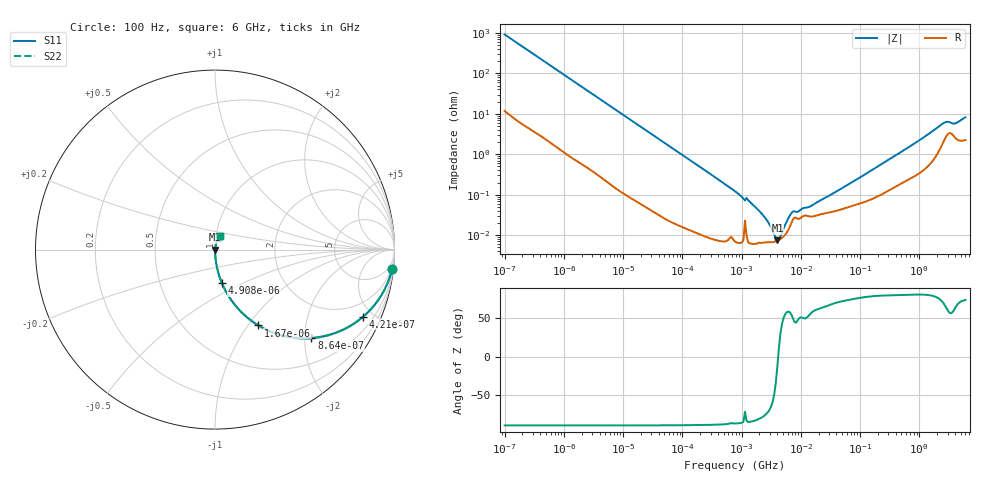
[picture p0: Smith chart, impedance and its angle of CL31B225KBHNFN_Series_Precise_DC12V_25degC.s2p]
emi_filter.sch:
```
<QucsStudio Schematic 2.5.7>
<Properties>
  <View=-180,-46,1730,1159,0.846154,0,110>
  <Grid=10,10,1>
  <DataSet=emi_filter.dat>
  <DataDisplay=emi_filter.dpl>
  <OpenDisplay=1>
  <showFrame=0>
  <FrameText0=Title>
  <FrameText1=Drawn By:>
  <FrameText2=Date:>
  <FrameText3=Revision:>
</Properties>
<Symbol>
</Symbol>
<Components>
  <.SP SP1 1 70 0 0 60 0 0 "log" 1 "1Hz" 1 "100MHz" 1 "801" 1 "no" 0 "1" 0 "2" 0 "none" 0>
  <GND * 1 80 330 0 0 0 0>
  <C C7 1 190 300 17 -26 0 1 "7.623µF" 1 "" 0 "neutral" 0 "SMD0603" 0>
  <GND * 1 190 330 0 0 0 0>
  <L L4 1 260 220 -26 10 0 0 "15.25µH" 1 "" 0 "SELF-WE-PD3S" 0>
  <C C8 1 260 180 -26 -48 0 0 "13.85nF" 1 "" 0 "neutral" 0 "SMD0603" 0>
  <C C9 1 330 300 17 -26 0 1 "7.623µF" 1 "" 0 "neutral" 0 "SMD0603" 0>
  <GND * 1 330 330 0 0 0 0>
  <GND * 1 440 330 0 0 0 0>
  <Pac P1 1 80 300 18 -26 0 0 "1" 1 "1 Ohm" 1 "0 dBm" 0 "1 GHz" 0 "26.85" 0 "SUBCLICK" 0>
  <Pac P2 1 440 300 18 -26 0 0 "2" 1 "1 Ohm" 1 "0 dBm" 0 "1 GHz" 0 "26.85" 0 "SUBCLICK" 0>
  <.MC MC1 1 660 30 0 61 0 0 "SP1" 1 "20" 1>
  <GND * 1 -80 770 0 0 0 0>
  <Pac P3 1 -80 740 18 -26 0 0 "3" 1 "1 Ohm" 1 "0 dBm" 0 "1 GHz" 0 "26.85" 0 "SUBCLICK" 0>
  <C C10 1 60 850 17 -26 0 1 "tol(6.8µF,20,1)" 1 "" 0 "neutral" 0 "SMD0603" 0>
  <R R2 1 60 770 15 -26 0 1 "0.8" 1 "26.85" 0 "0" 0 "0" 0 "26.85" 0 "european" 0 "SMD0603" 0>
  <GND * 1 180 940 0 0 0 0>
  <GND * 1 240 820 0 0 0 0>
  <SPfile X1 1 300 810 21 -26 0 3 "CL31B225KBHNFN_Series_Precise_DC12V_25degC.s2p" 1 "polar" 0 "linear" 0 "short" 0 "no" 0 "2" 0 "block" 0 "SOT23" 0>
  <R R1 1 550 660 -26 15 0 0 "0.198" 1 "26.85" 0 "0" 0 "0" 0 "26.85" 0 "european" 0 "SMD0603" 0>
  <L L5 1 650 660 -26 10 0 0 "tol(15uH,20,1)" 1 "" 0 "SELF-WE-PD3S" 0>
  <GND * 1 1420 770 0 0 0 0>
  <Pac P4 1 1420 740 18 -26 0 0 "4" 1 "1 Ohm" 1 "0 dBm" 0 "1 GHz" 0 "26.85" 0 "SUBCLICK" 0>
  <C C12 1 960 850 17 -26 0 1 "tol(6.8µF,20,1)" 1 "" 0 "neutral" 0 "SMD0603" 0>
  <R R3 1 960 770 15 -26 0 1 "0.8" 1 "26.85" 0 "0" 0 "0" 0 "26.85" 0 "european" 0 "SMD0603" 0>
  <GND * 1 1080 940 0 0 0 0>
  <GND * 1 1140 820 0 0 0 0>
  <SPfile X2 1 1200 810 21 -26 0 3 "CL31B225KBHNFN_Series_Precise_DC12V_25degC.s2p" 1 "polar" 0 "linear" 0 "short" 0 "no" 0 "2" 0 "block" 0 "SOT23" 0>
  <C C11 1 620 520 -26 -48 0 0 "tol(15nF,10,1)" 1 "" 0 "neutral" 0 "SMD0603" 0>
</Components>
<Wires>
  <80 220 80 270 "" 0 0 0 "">
  <80 220 190 220 "" 0 0 0 "">
  <190 220 190 270 "" 0 0 0 "">
  <190 220 230 220 "" 0 0 0 "">
  <290 220 330 220 "" 0 0 0 "">
  <230 180 230 220 "" 0 0 0 "">
  <290 180 290 220 "" 0 0 0 "">
  <330 220 330 270 "" 0 0 0 "">
  <440 220 440 270 "" 0 0 0 "">
  <330 220 440 220 "" 0 0 0 "">
  <-80 660 180 660 "" 0 0 0 "">
  <-80 660 -80 710 "" 0 0 0 "">
  <60 880 60 920 "" 0 0 0 "">
  <60 800 60 820 "" 0 0 0 "">
  <180 920 180 940 "" 0 0 0 "">
  <60 920 180 920 "" 0 0 0 "">
  <180 920 300 920 "" 0 0 0 "">
  <180 700 300 700 "" 0 0 0 "">
  <180 660 180 700 "" 0 0 0 "">
  <60 700 60 740 "" 0 0 0 "">
  <60 700 180 700 "" 0 0 0 "">
  <240 810 240 820 "" 0 0 0 "">
  <240 810 270 810 "" 0 0 0 "">
  <300 700 300 780 "" 0 0 0 "">
  <300 840 300 920 "" 0 0 0 "">
  <780 660 1080 660 "" 0 0 0 "">
  <180 660 440 660 "" 0 0 0 "">
  <440 520 590 520 "" 0 0 0 "">
  <440 520 440 660 "" 0 0 0 "">
  <650 520 780 520 "" 0 0 0 "">
  <780 520 780 660 "" 0 0 0 "">
  <440 660 520 660 "" 0 0 0 "">
  <680 660 780 660 "" 0 0 0 "">
  <580 660 620 660 "" 0 0 0 "">
  <1420 660 1420 710 "" 0 0 0 "">
  <960 880 960 920 "" 0 0 0 "">
  <960 800 960 820 "" 0 0 0 "">
  <1080 920 1080 940 "" 0 0 0 "">
  <960 920 1080 920 "" 0 0 0 "">
  <1080 920 1200 920 "" 0 0 0 "">
  <960 700 960 740 "" 0 0 0 "">
  <960 700 1080 700 "" 0 0 0 "">
  <1140 810 1140 820 "" 0 0 0 "">
  <1140 810 1170 810 "" 0 0 0 "">
  <1200 700 1200 780 "" 0 0 0 "">
  <1200 840 1200 920 "" 0 0 0 "">
  <1080 660 1420 660 "" 0 0 0 "">
  <1080 700 1200 700 "" 0 0 0 "">
  <1080 660 1080 700 "" 0 0 0 "">
</Wires>
<Diagrams>
</Diagrams>
<Paintings>
  <Text 270 30 12 #000000 0 "Chebyshev 2 lowpass filter of order 3  \n 30kHz cutoff/center frequency \n impedance matching Z_{IN}=1\\Omega, Z_{OUT}=1\\Omega">
  <Text -25 991 12 #000000 0 "EKYB101ELL6R8ME11D">
  <Text 215 991 12 #000000 0 "CL31B225KBHNFNE">
  <Text 525 611 12 #000000 0 "NRS5020T150MMGJ">
  <Text 875 991 12 #000000 0 "EKYB101ELL6R8ME11D">
  <Text 1115 991 12 #000000 0 "CL31B225KBHNFNE">
  <Text 565 431 12 #000000 0 "885012207123">
  <Text 1295 621 12 #000000 0 "Add 4700-008MLF">
</Paintings>
```
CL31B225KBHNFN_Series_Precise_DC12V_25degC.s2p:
! CL31B225KBHNFN Multilayer Ceramic Capacitor Sparameter Model
! Model Generated by Samsung Electro-Mechanics
! Samsung Sparameter Version 5.0
! Date : May-30-2020
! Products : Multilayer Ceramic Capacitor(General)
! Characteristics :
!  Nominal Capacitance = 2.2uF
!  Capacitance Tolerance = ¡¾10 %
!  TCC = X7R(-55 ~ +125 degC.)
!  Rated Voltage = 50Vdc
!  Size = 1206(unit:inch), 3216(unit:mm)
!  Length = 3.20 ¡¾ 0.20 mm
!  Width = 1.60 ¡¾ 0.20 mm
!  Thickness = 1.60 ¡¾ 0.20 mm
!  Measurement Temperature : 25degC.
!  DC bias Value = 12V
!  Frequency : 100Hz ~ 6GHz
! External Node Assignments :
!  1  o---||---o  2
# MHz S RI R 50.0
! Freq.  Real(S11)  Im(S11)  Real(S12)  Im(S12)  Real(S21)  Im(S21)  Real(S22)  Im(S22)
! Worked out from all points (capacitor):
!   300 points, 100 Hz to 6 GHz, reference 50 ohm
!   read as one part in series: C = 1.73 uF near 106.2 Hz
!   lowest |Z| = 7.43 mohm at 4.022 MHz (marker M1)
!   series resonance near 4.147 MHz, so ESL is about 850 pH
!   S11 on the Smith chart (normalised r, x): 100 Hz: 1, -18; 421 Hz: 1.05, -4.40; 864 Hz: 1.03, -2.16; 1.67 kHz: 1.01, -1.12; 4.908 kHz: 1.00, -0.39; 6 GHz: 1.04, +0.16
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0.0001  0.9869 -0.1074  0.0131 0.1074  0.0131 0.1074  0.9869 -0.1074
0.0004210496  0.8259 -0.373  0.1741 0.373  0.1741 0.373  0.8259 -0.373
0.0008639723  0.5375 -0.4927  0.4625 0.4927  0.4625 0.4927  0.5375 -0.4927
0.001669754  0.2419 -0.4223  0.7581 0.4223  0.7581 0.4223  0.2419 -0.4223
0.004907976  0.0378 -0.1848  0.9622 0.1848  0.9622 0.1848  0.0378 -0.1848
0.7981464  6.87e-05 -0.00118  0.9999 0.00118  0.9999 0.00118  6.87e-05 -0.00118
4.022142  7.26e-05 -1.56e-05  0.9999 1.56e-05  0.9999 1.56e-05  7.26e-05 -1.56e-05
7.321436  0.000241 0.000295  0.9998 -0.000295  0.9998 -0.000295  0.000241 0.000295
36.89531  0.000388 0.00105  0.9996 -0.00105  0.9996 -0.00105  0.000388 0.00105
2593.922  0.0236 0.0532  0.9764 -0.0532  0.9764 -0.0532  0.0236 0.0532
6000  0.0278 0.0752  0.9722 -0.0752  0.9722 -0.0752  0.0278 0.0752
